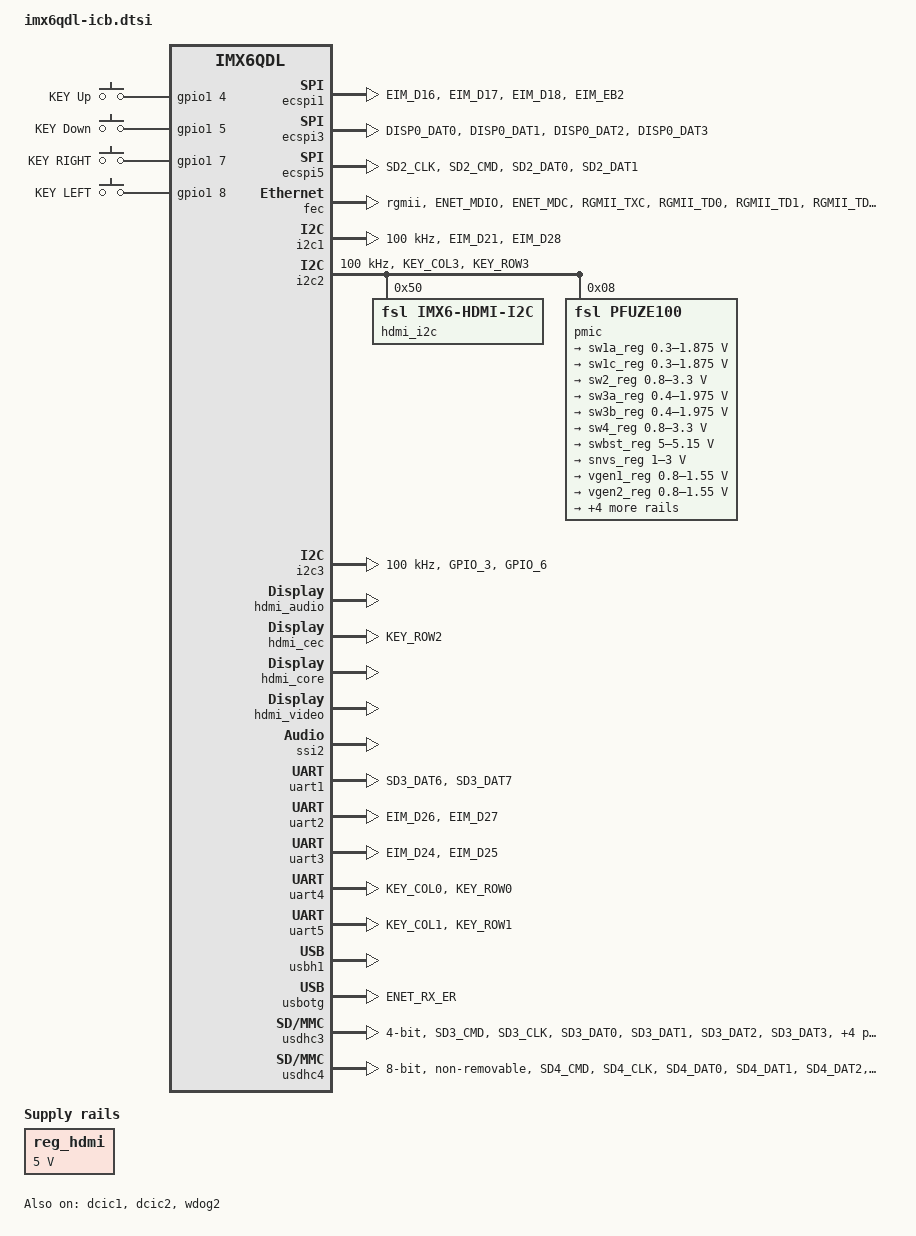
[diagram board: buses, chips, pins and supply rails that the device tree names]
/*
 * Copyright 2012-2016 Freescale Semiconductor, Inc.
 * Copyright 2011 Linaro Ltd.
 * Copyright 2019 Naimtechnology
 *
 * The code contained herein is licensed under the GNU General Public
 * License. You may obtain a copy of the GNU General Public License
 * Version 2 or later at the following locations:
 *
 * http://www.opensource.org/licenses/gpl-license.html
 * http://www.gnu.org/copyleft/gpl.html
 */

#include <dt-bindings/gpio/gpio.h>
#include <dt-bindings/input/input.h>

/ {
	aliases {
		mxcfb0 = &mxcfb1;
		mxcfb1 = &mxcfb2;
		mxcfb2 = &mxcfb3;
		mxcfb3 = &mxcfb4;
	};


	chosen {
		stdout-path = &uart1;
	};


	ir_gpios{
		compatible = "gpio-ir";
		pinctrl-names = "default";
		pinctrl-0 = <&pinctrl_ir_gpios>;
		

		user-ir-0 {
			label = "IR_SHUTTER_RESET";
			gpios = <&gpio4 16 GPIO_ACTIVE_HIGH>;
//			linux,code = <IR_SHUTTER_RESET>;
		};
		user-ir-1 {
			label = "IR_M_PULSE1";
			gpios = <&gpio4 18 GPIO_ACTIVE_HIGH>;
//			linux,code = <_IR_M_PULSE1>;
		};
		user-ir-2 {
			label = "IR_M_PULSE2";
			gpios = <&gpio4 19 GPIO_ACTIVE_HIGH>;
//			linux,code = <IR_M_PULSE2>;
		};
		user-ir-3 {
			label = "IR_M_DIRECTION1";
			gpios = <&gpio4 20 GPIO_ACTIVE_HIGH>;
//			linux,code = <IR_M_DIRECTION1>;
		};
		user-ir-4 {
			label = "IR_M_DIRECTION2";
			gpios = <&gpio4 17 GPIO_ACTIVE_HIGH>;
//			linux,code = <IR_M_DIRECTION2>;
		};
		user-ir-5 {
			label = "IR_GFID_LD";
			gpios = <&gpio4 26 GPIO_ACTIVE_HIGH>;
//			linux,code = <IR_GFID_LD>;
		};
		user-ir-6 {
			label = "IR_GFID_SDI";
			gpios = <&gpio4 27 GPIO_ACTIVE_HIGH>;
//			linux,code = <IR_GFID_SDI>;
		};
		user-ir-7 {
			label = "IR_GFID_SCK";
			gpios = <&gpio4 28 GPIO_ACTIVE_HIGH>;
//			linux,code = <IR_GFID_SCK>;
		};
		user-ir-8 {
			label = "IR_GSK_SCK";
			gpios = <&gpio4 29 GPIO_ACTIVE_HIGH>;
//			linux,code = <IR_GSK_SCK>;
		};
		user-ir-9 {
			label = "IR_GSK_LD";
			gpios = <&gpio4 30 GPIO_ACTIVE_HIGH>;
//			linux,code = <IR_GSK_LD>;
		};
		user-ir-10 {
			label = "IR_GSK_SDI";
			gpios = <&gpio4 31 GPIO_ACTIVE_HIGH>;
//			linux,code = <IR_GSK_SDI>;
		};
		user-ir-11 {
			label = "IR_DET_MC";
			gpios = <&gpio5 5 GPIO_ACTIVE_HIGH>;
//			linux,code = <IR_DET_MC>;
		};
		user-ir-12 {
			label = "IR_DET_INT";
			gpios = <&gpio5 6 GPIO_ACTIVE_HIGH>;
//			linux,code = <IR_DET_INT>;
		};
		user-ir-13 {
			label = "IR_DET_SERDAT";
			gpios = <&gpio5 7 GPIO_ACTIVE_HIGH>;
//			linux,code = <IR_DET_SERDAT>;
		};
		user-ir-14 {
			label = "IR_DET_RESET";
			gpios = <&gpio5 8 GPIO_ACTIVE_HIGH>;
//			linux,code = <IR_DET_RESET>;
		};
		user-ir-15 {
			label = "IR_SM_1A";
			gpios = <&gpio5 9 GPIO_ACTIVE_HIGH>;
//			linux,code = <IR_SM_1A>;
		};
		user-ir-16 {
			label = "IR_SM_1B";
			gpios = <&gpio5 10 GPIO_ACTIVE_HIGH>;
//			linux,code = <IR_SM_1B>;
		};
		user-ir-17 {
			label = "IR_SM_2A";
			gpios = <&gpio5 11 GPIO_ACTIVE_HIGH>;
//			linux,code = <IR_SM_1A>;
		};
		user-ir-18 {
			label = "IR_SM_2B";
			gpios = <&gpio5 12 GPIO_ACTIVE_HIGH>;
//			linux,code = <IR_SM_2B>;
		};
		user-ir-19 {
			label = "IR_ND_FILTER_STAT";
			gpios = <&gpio5 13 GPIO_ACTIVE_LOW>;
//			linux,code = <IR_ND_FILTER_STAT>;
		};
		user-ir-20 {
			label = "IR_FOCUS_STAT";
			gpios = <&gpio5 14 GPIO_ACTIVE_HIGH>;
//			linux,code = <IR_FOCUS_STAT>;
		};
		user-ir-21 {
			label = "IR_CTRL1";
			gpios = <&gpio3 31 GPIO_ACTIVE_HIGH>;
//			linux,code = <IR_FOCUS_STAT>;
		};
	};

	lrf-gpios{
		compatible = "gpio-lrf";
		pinctrl-names = "default";
		pinctrl-0 = <&pinctrl_lrf_gpios>;

		user-lrf-0 {
			label = "LRF_nSTOP";
			gpios = <&gpio2 0 GPIO_ACTIVE_HIGH>;
			default-state = "off";
//			linux,code = <LRF_nSTOP>;
		};
		user-lrf-1 {
			label = "LRF_nSTART";
			gpios = <&gpio2 1 GPIO_ACTIVE_HIGH>;
//			linux,code = <LRF_nSTART>;
		};
		user-lrf-2 {
			label = "LRF_IMX6_SEL1";
			gpios = <&gpio2 3 GPIO_ACTIVE_HIGH>;
//			linux,code = <LRF_IMX6_SEL1>;
		};
		user-lrf-3 {
			label = "LRF_IMX6_SEL2";
			gpios = <&gpio2 4 GPIO_ACTIVE_HIGH>;
//			linux,code = <LRF_IMX6_SEL2>;
		};
		user-lrf-4 {
			label = "LRF_IMX6_FIRE";
			gpios = <&gpio2 5 GPIO_ACTIVE_HIGH>;
//			linux,code = <LRF_IMX6_FIRE>;
		};
	
	};


	ipb-gpios {
		compatible = "gpio-ipb";
		pinctrl-names = "default";
		pinctrl-0 = <&pinctrl_ipb_gpios>;

		user-ipb-0 {
			label = "IPB MAIN PWR nOFF";
			gpios = <&gpio6 11 GPIO_ACTIVE_HIGH>;
//			linux,code = <IPB_MAIN_PWR_nOFF>;
		};
		user-ipb-1 {
			label = "POWER_OFF_SENSE";
			gpios = <&gpio6 14 GPIO_ACTIVE_HIGH>;
//			linux,code = <POWER_OFF_SENSE>;
		};
		user-ipb-2 {
			label = "INSTATE_B1";
			gpios = <&gpio1 18 GPIO_ACTIVE_HIGH>;
//			linux,code = <INSTATE_B1>;
		};
		user-ipb-3 {
			label = "INSTATE_B2";
			gpios = <&gpio1 16 GPIO_ACTIVE_HIGH>;
//			linux,code = <INSTATE_B2>;
		};
		user-ipb-4 {
			label = "6.0V_ON_OFF";
			gpios = <&gpio1 17 GPIO_ACTIVE_HIGH>;
//			linux,code = <6.0V_ON_OFF>;
		};
		user-ipb-5 {
			label = "INSTATE_ID";
			gpios = <&gpio1 19 GPIO_ACTIVE_HIGH>;
//			linux,code = <6.INSTATE_ID>;
		};
		user-ipb-6 {
			label = "INSTATE_EX";
			gpios = <&gpio1 21 GPIO_ACTIVE_HIGH>;
//			linux,code = <6.INSTATE_EX>;
		};

	};


	gpio-keys {
		compatible = "gpio-keys";
		pinctrl-names = "default";
		pinctrl-0 = <&pinctrl_gpio_keys>;

		key-up {
			label = "KEY Up";
			gpios = <&gpio1 4 GPIO_ACTIVE_HIGH>;
			gpio-key,wakeup;
//			linux,code = <KEY_UP>;
		};

		key-down {
			label = "KEY Down";
			gpios = <&gpio1 5 GPIO_ACTIVE_HIGH>;
			gpio-key,wakeup;
//			linux,code = <KEY_DOWN>;
		};

		key-right {
			label = "KEY RIGHT";
			gpios = <&gpio1 7 GPIO_ACTIVE_HIGH>;
			gpio-key,wakeup;
//			linux,code = <KEY_RIGHT>;
		};

		key-left {
			label = "KEY LEFT";
			gpios = <&gpio1 8 GPIO_ACTIVE_HIGH>;
			gpio-key,wakeup;
//			linux,code = <KEY_LEFT>;
		};
	};

	prox-gpios {
		compatible = "gpio-prox";
		pinctrl-names = "default";
		pinctrl-0 = <&pinctrl_gpio_prox>;

		user-prox-0 {
			label = "PROX INT";
			gpios = <&gpio1 18 GPIO_ACTIVE_HIGH>;
			gpio-key,wakeup;
//			linux,code = <PROX_INT>;
		};

	};

	EXT-gpios {
		compatible = "gpio-ext";
		pinctrl-names = "default";
		pinctrl-0 = <&pinctrl_gpio_ext>;

		user-ext-0 {
			label = "SW FUNCTION";
			gpios = <&gpio5 15 GPIO_ACTIVE_HIGH>;
//			linux,code = <PROX_INT>;
		};

		user-ext-1 {
			label = "SW LASER FIRE";
			gpios = <&gpio5 16 GPIO_ACTIVE_HIGH>;
//			linux,code = <SW_LASER_FIRE>;
		};

		user-ext-2 {
			label = "SW MENU";
			gpios = <&gpio5 17 GPIO_ACTIVE_HIGH>;
//			linux,code = <SW_MENU>;
		};

		user-ext-3 {
			label = "EXP PWR OCn";
			gpios = <&gpio6 15 GPIO_ACTIVE_HIGH>;
//			linux,code = <EXP_PWR_OCn>;
		};
	};

	etc-gpios {
		compatible = "gpio-etc";
		pinctrl-names = "default";
		pinctrl-0 = <&pinctrl_gpio_etc>;

		user-etc-1 {
			label = "GPS PWR ON";
			gpios = <&gpio1 4 GPIO_ACTIVE_HIGH>;
//			linux,code = <GPS_PWR_ON>;
		};

		user-etc-2 {
			label = "LRF PWR ON";
			gpios = <&gpio1 5 GPIO_ACTIVE_HIGH>;
//			linux,code = <LRF_PWR_ON>;
		};

	};

/*	gpio-keys {
		compatible = "gpio-keys";
		pinctrl-names = "default";
		pinctrl-0 = <&pinctrl_gpio_keys>;

		power {
			label = "Power Button";
			gpios = <&gpio3 29 GPIO_ACTIVE_LOW>;
			gpio-key,wakeup;
			linux,code = <KEY_POWER>;
		};

		volume-up {
			label = "Volume Up";
			gpios = <&gpio4 14 GPIO_ACTIVE_LOW>;
			gpio-key,wakeup;
			linux,code = <KEY_VOLUMEUP>;
		};

		volume-down {
			label = "Volume Down";
			gpios = <&gpio4 15 GPIO_ACTIVE_LOW>;
			gpio-key,wakeup;
			linux,code = <KEY_VOLUMEDOWN>;
		};
	};
*/

	regulators {
		compatible = "simple-bus";
		#address-cells = <1>;
		#size-cells = <0>;

		reg_hdmi: regulator@5 {
			compatible = "regulator-fixed";
			reg = <5>;
			regulator-name = "hdmi-5v-supply";
			regulator-min-microvolt = <5000000>;
			regulator-max-microvolt = <5000000>;
			enable-active-high;
			hdmi-5v-supply = <&swbst_reg>;
		};

	};

	sound-hdmi {
		compatible = "fsl,imx6q-audio-hdmi",
			     "fsl,imx-audio-hdmi";
		model = "imx-audio-hdmi";
		hdmi-controller = <&hdmi_audio>;
	};

	mxcfb1: fb@0 { 
 		compatible = "fsl,mxc_sdc_fb"; 
 		disp_dev = "hdmi"; 
 		interface_pix_fmt = "RGB24"; 
 		mode_str ="1920x1080M@60"; 
 		default_bpp = <24>; 
 		int_clk = <0>; 
 		late_init = <0>; 
 		status = "okay"; 
	}; 
 
 
 	mxcfb2: fb@1 { 
 		compatible = "fsl,mxc_sdc_fb"; 
 		disp_dev = "ldb"; 
 		interface_pix_fmt = "RGB666"; 
 		default_bpp = <16>; 
 		int_clk = <0>; 
 		late_init = <0>; 
 		status = "disabled"; 
 	}; 
 
 
 	mxcfb3: fb@2 { 
 		compatible = "fsl,mxc_sdc_fb"; 
 		disp_dev = "lcd"; 
 		interface_pix_fmt = "RGB565"; 
 		mode_str ="CLAA-WVGA"; 
 		default_bpp = <16>; 
 		int_clk = <0>; 
 		late_init = <0>; 
 		status = "disabled"; 
 	}; 
 
 
 	mxcfb4: fb@3 { 
 		compatible = "fsl,mxc_sdc_fb"; 
 		disp_dev = "ldb"; 
 		interface_pix_fmt = "RGB666"; 
 		default_bpp = <16>; 
 		int_clk = <0>; 
 		late_init = <0>; 
 		status = "disabled"; 
 	}; 


/*	lcd@0 {
		compatible = "fsl,lcd";
		ipu_id = <0>;
		disp_id = <0>;
		default_ifmt = "RGB565";
		pinctrl-names = "default";
		pinctrl-0 = <&pinctrl_ipu1>;
		status = "disabled";
	};

	backlight {
		compatible = "pwm-backlight";
		pwms = <&pwm1 0 5000000>;
		brightness-levels = <0 4 8 16 32 64 128 255>;
		default-brightness-level = <7>;
		status = "disabled";
	};*/

	v4l2_cap_0 {
		compatible = "fsl,imx6q-v4l2-capture";
		ipu_id = <0>;
		csi_id = <0>;
		mclk_source = <0>;
		status = "okay";
	};

	v4l2_cap_1 {
		compatible = "fsl,imx6q-v4l2-capture";
		ipu_id = <0>;
		csi_id = <1>;
		mclk_source = <0>;
		status = "okay";
	};

	v4l2_out {
		compatible = "fsl,mxc_v4l2_output";
		status = "okay";
	};

};

/*
&ldb {
	status = "okay";

	lvds-channel@0 {
		fsl,data-mapping = "spwg";
		fsl,data-width = <18>;
		status = "okay";

		display-timings {
			native-mode = <&timing0>;
			timing0: hsd100pxn1 {
				clock-frequency = <65000000>;
				hactive = <1024>;
				vactive = <768>;
				hback-porch = <220>;
				hfront-porch = <40>;
				vback-porch = <21>;
				vfront-porch = <7>;
				hsync-len = <60>;
				vsync-len = <10>;
			};
		};
	};
};*/


&audmux {
//	pinctrl-names = "default";
//	pinctrl-0 = <&pinctrl_audmux>;
	status = "disabled";
};

&cpu0 {
	arm-supply = <&sw1a_reg>;
	soc-supply = <&sw1c_reg>;
};

&clks {
	fsl,ldb-di0-parent = <&clks IMX6QDL_CLK_PLL2_PFD0_352M>;
	fsl,ldb-di1-parent = <&clks IMX6QDL_CLK_PLL2_PFD0_352M>;
};

/*
&ecspi1 {
	fsl,spi-num-chipselects = <1>;
	cs-gpios = <&gpio4 9 0>;
	pinctrl-names = "default";
	pinctrl-0 = <&pinctrl_ecspi1>;
	status = "okay";

	flash: m25p80@0 {
		#address-cells = <1>;
		#size-cells = <1>;
		compatible = "st,m25p32";
		spi-max-frequency = <20000000>;
		reg = <0>;
	};
};
*/

&ecspi1 {
	fsl,spi-num-chipselects = <1>;
	cs-gpios = <&gpio2 30 0>;
	pinctrl-names = "default";
	pinctrl-0 = <&pinctrl_ecspi1>;
	status = "okay";

};

&ecspi3 {
	fsl,spi-num-chipselects = <1>;
	cs-gpios = <&gpio4 24 0>;
	pinctrl-names = "default";
	pinctrl-0 = <&pinctrl_ecspi3>;
	status = "okay";

};

&ecspi5 {
	fsl,spi-num-chipselects = <1>;
	cs-gpios = <&gpio1 14 0>;
	pinctrl-names = "default";
	pinctrl-0 = <&pinctrl_ecspi5>;
	status = "okay";

};

&fec {
	pinctrl-names = "default";
	pinctrl-0 = <&pinctrl_enet>;
	phy-mode = "rgmii";
	phy-reset-gpios = <&gpio1 25 0>;
	fsl,magic-packet;
	status = "okay";
};

&i2c1 {
	clock-frequency = <100000>;
	pinctrl-names = "default";
	pinctrl-0 = <&pinctrl_i2c1>;
	status = "okay";
};

&i2c2 {
	clock-frequency = <100000>;
	pinctrl-names = "default";
	pinctrl-0 = <&pinctrl_i2c2>;
	status = "okay";


	hdmi_i2c: edid@50 {
		compatible = "fsl,imx6-hdmi-i2c";
		reg = <0x50>;
	};

	pmic: pfuze100@08 {
		compatible = "fsl,pfuze100";
		reg = <0x08>;

		regulators {
			sw1a_reg: sw1ab {
				regulator-min-microvolt = <300000>;
				regulator-max-microvolt = <1875000>;
				regulator-boot-on;
				regulator-always-on;
				regulator-ramp-delay = <6250>;
			};

			sw1c_reg: sw1c {
				regulator-min-microvolt = <300000>;
				regulator-max-microvolt = <1875000>;
				regulator-boot-on;
				regulator-always-on;
				regulator-ramp-delay = <6250>;
			};

			sw2_reg: sw2 {
				regulator-min-microvolt = <800000>;
				regulator-max-microvolt = <3300000>;
				regulator-boot-on;
				regulator-always-on;
				regulator-ramp-delay = <6250>;
			};

			sw3a_reg: sw3a {
				regulator-min-microvolt = <400000>;
				regulator-max-microvolt = <1975000>;
				regulator-boot-on;
				regulator-always-on;
			};

			sw3b_reg: sw3b {
				regulator-min-microvolt = <400000>;
				regulator-max-microvolt = <1975000>;
				regulator-boot-on;
				regulator-always-on;
			};

			sw4_reg: sw4 {
				regulator-min-microvolt = <800000>;
				regulator-max-microvolt = <3300000>;
			};

			swbst_reg: swbst {
				regulator-min-microvolt = <5000000>;
				regulator-max-microvolt = <5150000>;
			};

			snvs_reg: vsnvs {
				regulator-min-microvolt = <1000000>;
				regulator-max-microvolt = <3000000>;
				regulator-boot-on;
				regulator-always-on;
			};

			vref_reg: vrefddr {
				regulator-boot-on;
				regulator-always-on;
			};

			vgen1_reg: vgen1 {
				regulator-min-microvolt = <800000>;
				regulator-max-microvolt = <1550000>;
			};

			vgen2_reg: vgen2 {
				regulator-min-microvolt = <800000>;
				regulator-max-microvolt = <1550000>;
			};

			vgen3_reg: vgen3 {
				regulator-min-microvolt = <1800000>;
				regulator-max-microvolt = <3300000>;
			};

			vgen4_reg: vgen4 {
				regulator-min-microvolt = <1800000>;
				regulator-max-microvolt = <3300000>;
				regulator-always-on;
			};

			vgen5_reg: vgen5 {
				regulator-min-microvolt = <1800000>;
				regulator-max-microvolt = <3300000>;
				regulator-always-on;
			};

			vgen6_reg: vgen6 {
				regulator-min-microvolt = <1800000>;
				regulator-max-microvolt = <3300000>;
				regulator-always-on;
			};
		};
	};
};

&i2c3 {
	clock-frequency = <100000>;
	pinctrl-names = "default";
	pinctrl-0 = <&pinctrl_i2c3>;
	status = "okay";

};

&gpc {
	fsl,ldo-bypass = <1>;
};

&dcic1 {
	dcic_id = <0>;
	dcic_mux = "dcic-hdmi";
	status = "okay";
};

&dcic2 {
	dcic_id = <1>;
	dcic_mux = "dcic-lvds1";
	status = "okay";
};

&hdmi_audio {
	status = "okay";
};

&hdmi_cec {
	pinctrl-names = "default";
	pinctrl-0 = <&pinctrl_hdmi_cec>;
	status = "okay";
};

&hdmi_core {
	ipu_id = <0>;
	disp_id = <0>;
	status = "okay";
};

&hdmi_video {
	fsl,phy_reg_vlev = <0x0294>;
	fsl,phy_reg_cksymtx = <0x800d>;
	HDMI-supply = <&reg_hdmi>;
	status = "okay";
};

&mipi_csi {
	status = "disabled";
};


&pcie {
	status = "disabled";
};

&pwm1 {
	status = "disabled";
};

&ssi2 {
	status = "okay";
};

&uart1 {
	pinctrl-names = "default";
	pinctrl-0 = <&pinctrl_uart1>;
	status = "okay";
};

&uart2 {
	pinctrl-names = "default";
	pinctrl-0 = <&pinctrl_uart2>;
	status = "okay";
};

&uart3 {
	pinctrl-names = "default";
	pinctrl-0 = <&pinctrl_uart3>;
	status = "okay";
};

&uart4 {
	pinctrl-names = "default";
	pinctrl-0 = <&pinctrl_uart4>;
	status = "okay";
};

&uart5 {
	pinctrl-names = "default";
	pinctrl-0 = <&pinctrl_uart5>;
	status = "okay";
};

&usbh1 {
	status = "okay";
};

&usbotg {
	pinctrl-names = "default";
	pinctrl-0 = <&pinctrl_usbotg>;
	disable-over-current;
	srp-disable;
	hnp-disable;
	adp-disable;
	status = "okay";
};

&usdhc3 {
	pinctrl-names = "default";
	pinctrl-0 = <&pinctrl_usdhc3>;
	bus-width = <4>;
	cd-gpios = <&gpio1 20 GPIO_ACTIVE_LOW>;
	wp-gpios = <&gpio6 9 GPIO_ACTIVE_HIGH>;
	no-1-8-v;
	keep-power-in-suspend;
	enable-sdio-wakeup;
	status = "okay";
};


&usdhc4 {
	pinctrl-names = "default";
	pinctrl-0 = <&pinctrl_usdhc4>;
	bus-width = <8>;
	non-removable;
	no-1-8-v;
	keep-power-in-suspend;
	status = "okay";
};

&snvs_poweroff {
	status = "okay";
};

&usbphy1 {
	tx-d-cal = <0x5>;
};

&usbphy2 {
	tx-d-cal = <0x5>;
};

&wdog1 {
	status = "disabled";
};

&wdog2 {
	pinctrl-names = "default";
	pinctrl-0 = <&pinctrl_wdog>;
	fsl,wdog_b;
	status = "okay";
};



&iomuxc {
	pinctrl-names = "default";
//	pinctrl-0 = <&pinctrl_hog>;

	imx6qdl-icb {
/*		pinctrl_hog: hoggrp {
			fsl,pins = <
				MX6QDL_PAD_NANDF_D0__GPIO2_IO00 0x1b0b0
				MX6QDL_PAD_NANDF_D1__GPIO2_IO01 0x1b0b0
				MX6QDL_PAD_NANDF_D2__GPIO2_IO02 0x1b0b0
				MX6QDL_PAD_NANDF_D3__GPIO2_IO03 0x1b0b0
				MX6QDL_PAD_NANDF_D4__GPIO2_IO04 0x1b0b0
				MX6QDL_PAD_NANDF_D5__GPIO2_IO05 0x1b0b0
				MX6QDL_PAD_NANDF_D6__GPIO2_IO06 0x1b0b0
				MX6QDL_PAD_NANDF_D7__GPIO2_IO07 0x1b0b0

				MX6QDL_PAD_NANDF_CS0__GPIO6_IO11 0x1b0b0
				MX6QDL_PAD_NANDF_CS1__GPIO6_IO14 0x1b0b0
				MX6QDL_PAD_NANDF_CS2__GPIO6_IO15 0x1b0b0
				MX6QDL_PAD_NANDF_CS3__GPIO6_IO16 0x1b0b0
				MX6QDL_PAD_NANDF_ALE__GPIO6_IO08 0x1b0b0
				MX6QDL_PAD_NANDF_CLE__GPIO6_IO07 0x1b0b0
				MX6QDL_PAD_NANDF_WP_B__GPIO6_IO09 0x1b0b0
				MX6QDL_PAD_NANDF_RB0__GPIO6_IO10 0x1b0b0

				MX6QDL_PAD_GPIO_4__GPIO1_IO04 0x130b0
				MX6QDL_PAD_GPIO_5__GPIO1_IO05 0x130b0
				MX6QDL_PAD_GPIO_7__GPIO1_IO07 0x130b0
				MX6QDL_PAD_GPIO_8__GPIO1_IO08 0x130b0
				MX6QDL_PAD_GPIO_9__GPIO1_IO09 0x130b0
				MX6QDL_PAD_GPIO_8__GPIO1_IO08 0x130b0
				MX6QDL_PAD_GPIO_16__GPIO7_IO11 0x130b0
		                MX6QDL_PAD_GPIO_17__GPIO7_IO12 0x130b0
				MX6QDL_PAD_GPIO_19__GPIO4_IO05 0x130b0
				MX6QDL_PAD_SD2_CMD__GPIO1_IO11 0x130b0
                		MX6QDL_PAD_SD2_DAT0__GPIO1_IO15 0x130b0
                		MX6QDL_PAD_SD2_DAT1__GPIO1_IO14 0x130b0
                		MX6QDL_PAD_SD2_DAT2__GPIO1_IO13 0x130b0
                		MX6QDL_PAD_SD2_DAT3__GPIO1_IO12 0x130b0
				MX6QDL_PAD_EIM_D19__GPIO3_IO19 0x130b0
                		MX6QDL_PAD_EIM_D20__GPIO3_IO20 0x130b0
                		MX6QDL_PAD_EIM_D22__GPIO3_IO22 0x130b0

				MX6QDL_PAD_GPIO_0__CCM_CLKO1    0x130b0
				MX6QDL_PAD_ENET_CRS_DV__GPIO1_IO25 0x80000000
				MX6QDL_PAD_SD1_CMD__GPIO1_IO18 0x80000000
				MX6QDL_PAD_EIM_D16__GPIO3_IO16 0x80000000
				MX6QDL_PAD_EIM_DA9__GPIO3_IO09 0x80000000
			>;
		};*/


		pinctrl_ecspi1: ecspi1grp {
			fsl,pins = <

				MX6QDL_PAD_EIM_D16__ECSPI1_SCLK         0x1B0B0
				MX6QDL_PAD_EIM_D17__ECSPI1_MISO         0x1B0B0
				MX6QDL_PAD_EIM_D18__ECSPI1_MOSI         0x1B0B0
				MX6QDL_PAD_EIM_EB2__GPIO2_IO30		0x1b0b0
//				MX6QDL_PAD_EIM_EB2__GPIO2_IO30		0x80000000 /* CS0 */
			>;
		};

		pinctrl_ecspi3: ecspi3grp {
			fsl,pins = <

				MX6QDL_PAD_DISP0_DAT0__ECSPI3_SCLK         0x0001B0B0
				MX6QDL_PAD_DISP0_DAT1__ECSPI3_MOSI         0x0001B0B0
				MX6QDL_PAD_DISP0_DAT2__ECSPI3_MISO         0x0001B0B0
				MX6QDL_PAD_DISP0_DAT3__GPIO4_IO24          0x0001B0B0
			>;
		};

		pinctrl_ecspi5: ecspi5grp {
			fsl,pins = <

				MX6QDL_PAD_SD2_CLK__ECSPI5_SCLK            0x0001B0B0
				MX6QDL_PAD_SD2_CMD__ECSPI5_MOSI            0x0001B0B0
				MX6QDL_PAD_SD2_DAT0__ECSPI5_MISO           0x0001B0B0
				MX6QDL_PAD_SD2_DAT1__GPIO1_IO14            0x0001B0B0
			>;
		};


		pinctrl_enet: enetgrp {
			fsl,pins = <
				MX6QDL_PAD_ENET_MDIO__ENET_MDIO		0x1b0b0
				MX6QDL_PAD_ENET_MDC__ENET_MDC		0x1b0b0
				MX6QDL_PAD_RGMII_TXC__RGMII_TXC		0x1b0b0
				MX6QDL_PAD_RGMII_TD0__RGMII_TD0		0x1b0b0
				MX6QDL_PAD_RGMII_TD1__RGMII_TD1		0x1b0b0
				MX6QDL_PAD_RGMII_TD2__RGMII_TD2		0x1b0b0
				MX6QDL_PAD_RGMII_TD3__RGMII_TD3		0x1b0b0
				MX6QDL_PAD_RGMII_TX_CTL__RGMII_TX_CTL	0x1b0b0
				MX6QDL_PAD_ENET_REF_CLK__ENET_TX_CLK	0x1b0b0
				MX6QDL_PAD_RGMII_RXC__RGMII_RXC		0x1b0b0
				MX6QDL_PAD_RGMII_RD0__RGMII_RD0		0x1b0b0
				MX6QDL_PAD_RGMII_RD1__RGMII_RD1		0x1b0b0
				MX6QDL_PAD_RGMII_RD2__RGMII_RD2		0x1b0b0
				MX6QDL_PAD_RGMII_RD3__RGMII_RD3		0x1b0b0
				MX6QDL_PAD_RGMII_RX_CTL__RGMII_RX_CTL	0x1b0b0
				MX6QDL_PAD_GPIO_16__ENET_REF_CLK	0x4001b0a8
			>;
		};

		pinctrl_enet_irq: enetirqgrp {
			fsl,pins = <
				MX6QDL_PAD_GPIO_6__ENET_IRQ		0x000b1
			>;
		};

/*		pinctrl_gpio_keys: gpio_keysgrp {
			fsl,pins = <
				MX6QDL_PAD_EIM_D29__GPIO3_IO29 		0x1b0b0
				MX6QDL_PAD_KEY_COL4__GPIO4_IO14  	0x1b0b0
				MX6QDL_PAD_KEY_ROW4__GPIO4_IO15  	0x1b0b0
			>;
		};
*/
		pinctrl_hdmi_cec: hdmicecgrp {
			fsl,pins = <
				MX6QDL_PAD_KEY_ROW2__HDMI_TX_CEC_LINE 0x108b0
			>;
		};

		pinctrl_hdmi_hdcp: hdmihdcpgrp {
			fsl,pins = <
				MX6QDL_PAD_KEY_COL3__HDMI_TX_DDC_SCL 0x4001b8b1
				MX6QDL_PAD_KEY_ROW3__HDMI_TX_DDC_SDA 0x4001b8b1
			>;
		};

		pinctrl_i2c1: i2c1grp {
			fsl,pins = <
				MX6QDL_PAD_EIM_D21__I2C1_SCL		0x4001b8b1
				MX6QDL_PAD_EIM_D28__I2C1_SDA		0x4001b8b1
			>;
		};

		pinctrl_i2c2: i2c2grp {
			fsl,pins = <
				MX6QDL_PAD_KEY_COL3__I2C2_SCL		0x4001b8b1
				MX6QDL_PAD_KEY_ROW3__I2C2_SDA		0x4001b8b1
			>;
		};

		pinctrl_i2c3: i2c3grp {
			fsl,pins = <
				MX6QDL_PAD_GPIO_3__I2C3_SCL		0x4001b8b1
				MX6QDL_PAD_GPIO_6__I2C3_SDA		0x4001b8b1
			>;
		};


		pinctrl_ir_gpios: pinmux_ir_gpio_pins {
			fsl,pins = <
				MX6QDL_PAD_DI0_DISP_CLK__GPIO4_IO16        0x000130B0
				MX6QDL_PAD_DI0_PIN2__GPIO4_IO18            0x000130B0
				MX6QDL_PAD_DI0_PIN3__GPIO4_IO19            0x000130B0
				MX6QDL_PAD_DI0_PIN4__GPIO4_IO20            0x000130B0
				MX6QDL_PAD_DI0_PIN15__GPIO4_IO17           0x000130B0
		 		MX6QDL_PAD_DISP0_DAT5__GPIO4_IO26          0x000130B0
				MX6QDL_PAD_DISP0_DAT6__GPIO4_IO27          0x000130B0
				MX6QDL_PAD_DISP0_DAT7__GPIO4_IO28          0x000130B0
				MX6QDL_PAD_DISP0_DAT8__GPIO4_IO29          0x000130B0
				MX6QDL_PAD_DISP0_DAT9__GPIO4_IO30          0x000130B0
				MX6QDL_PAD_DISP0_DAT10__GPIO4_IO31         0x000130B0
				MX6QDL_PAD_DISP0_DAT11__GPIO5_IO05         0x000130B0
				MX6QDL_PAD_DISP0_DAT12__GPIO5_IO06         0x000130B0
				MX6QDL_PAD_DISP0_DAT13__GPIO5_IO07         0x000130B0
				MX6QDL_PAD_DISP0_DAT14__GPIO5_IO08         0x000130B0
				MX6QDL_PAD_DISP0_DAT15__GPIO5_IO09         0x000130B0
				MX6QDL_PAD_DISP0_DAT16__GPIO5_IO10         0x000130B0
				MX6QDL_PAD_DISP0_DAT17__GPIO5_IO11         0x000130B0
				MX6QDL_PAD_DISP0_DAT18__GPIO5_IO12         0x000130B0
				MX6QDL_PAD_DISP0_DAT19__GPIO5_IO13         0x000130B0
				MX6QDL_PAD_DISP0_DAT20__GPIO5_IO14         0x000130B0
				MX6QDL_PAD_EIM_D31__GPIO3_IO31             0x000130B0
			>;
		};

		pinctrl_lrf_gpios: pinmux_lrf_gpio_pins {
			fsl,pins = <
				MX6QDL_PAD_NANDF_CS2__GPIO6_IO15           0x000130B0
				MX6QDL_PAD_NANDF_D0__GPIO2_IO00            0x000130B0
				MX6QDL_PAD_NANDF_D1__GPIO2_IO01            0x000130B0
				MX6QDL_PAD_NANDF_D3__GPIO2_IO03            0x000130B0
				MX6QDL_PAD_NANDF_D4__GPIO2_IO04            0x000130B0
				MX6QDL_PAD_NANDF_D5__GPIO2_IO05            0x000130B0
			>;
		};

		pinctrl_ipb_gpios: pinmux_ipb_gpio_pins {
			fsl,pins = <
				MX6QDL_PAD_NANDF_CS0__GPIO6_IO11           0x000130B0
				MX6QDL_PAD_NANDF_CS1__GPIO6_IO14           0x000130B0
				MX6QDL_PAD_SD1_CMD__GPIO1_IO18             0x000130B0
				MX6QDL_PAD_SD1_DAT0__GPIO1_IO16            0x000130B0
				MX6QDL_PAD_SD1_DAT1__GPIO1_IO17            0x000130B0
				MX6QDL_PAD_SD1_DAT2__GPIO1_IO19            0x000130B0
		                MX6QDL_PAD_SD1_DAT3__GPIO1_IO21            0x000130B0
			>;
		};

		pinctrl_gpio_keys: pinmux_keys_gpio_pins {
			fsl,pins = <
				MX6QDL_PAD_GPIO_4__GPIO1_IO04              0x000130B0
               			MX6QDL_PAD_GPIO_5__GPIO1_IO05              0x000130B0
				MX6QDL_PAD_GPIO_7__GPIO1_IO07              0x000130B0
                		MX6QDL_PAD_GPIO_8__GPIO1_IO08              0x000130B0
			>;
		};

		pinctrl_gpio_prox: pinmux_prox_gpio_pins {
			fsl,pins = <
				MX6QDL_PAD_GPIO_9__GPIO1_IO09              0x000130B0
			>;
		};

		pinctrl_gpio_ext: pinmux_ext_gpio_pins {
			fsl,pins = <
				MX6QDL_PAD_DISP0_DAT21__GPIO5_IO15         0x000130B0
				MX6QDL_PAD_DISP0_DAT22__GPIO5_IO16         0x000130B0
				MX6QDL_PAD_DISP0_DAT23__GPIO5_IO17         0x000130B0
				MX6QDL_PAD_NANDF_CS2__GPIO6_IO15           0x000130B0
			>;
		};

		pinctrl_gpio_etc: pinmux_etc_gpio_pins {
			fsl,pins = <
				MX6QDL_PAD_NANDF_ALE__GPIO6_IO08           0x000130B0
                		MX6QDL_PAD_NANDF_CLE__GPIO6_IO07           0x000130B0
			>;
		};

/*		pinctrl_ipu1: ipu1grp {
			fsl,pins = <
				MX6QDL_PAD_DI0_DISP_CLK__IPU1_DI0_DISP_CLK 0x10
				MX6QDL_PAD_DI0_PIN15__IPU1_DI0_PIN15       0x10
				MX6QDL_PAD_DI0_PIN2__IPU1_DI0_PIN02        0x10
				MX6QDL_PAD_DI0_PIN3__IPU1_DI0_PIN03        0x10
				MX6QDL_PAD_DI0_PIN4__IPU1_DI0_PIN04        0x80000000
				MX6QDL_PAD_DISP0_DAT0__IPU1_DISP0_DATA00   0x10
				MX6QDL_PAD_DISP0_DAT1__IPU1_DISP0_DATA01   0x10
				MX6QDL_PAD_DISP0_DAT2__IPU1_DISP0_DATA02   0x10
				MX6QDL_PAD_DISP0_DAT3__IPU1_DISP0_DATA03   0x10
				MX6QDL_PAD_DISP0_DAT4__IPU1_DISP0_DATA04   0x10
				MX6QDL_PAD_DISP0_DAT5__IPU1_DISP0_DATA05   0x10
				MX6QDL_PAD_DISP0_DAT6__IPU1_DISP0_DATA06   0x10
				MX6QDL_PAD_DISP0_DAT7__IPU1_DISP0_DATA07   0x10
				MX6QDL_PAD_DISP0_DAT8__IPU1_DISP0_DATA08   0x10
				MX6QDL_PAD_DISP0_DAT9__IPU1_DISP0_DATA09   0x10
				MX6QDL_PAD_DISP0_DAT10__IPU1_DISP0_DATA10  0x10
				MX6QDL_PAD_DISP0_DAT11__IPU1_DISP0_DATA11  0x10
				MX6QDL_PAD_DISP0_DAT12__IPU1_DISP0_DATA12  0x10
				MX6QDL_PAD_DISP0_DAT13__IPU1_DISP0_DATA13  0x10
				MX6QDL_PAD_DISP0_DAT14__IPU1_DISP0_DATA14  0x10
				MX6QDL_PAD_DISP0_DAT15__IPU1_DISP0_DATA15  0x10
				MX6QDL_PAD_DISP0_DAT16__IPU1_DISP0_DATA16  0x10
				MX6QDL_PAD_DISP0_DAT17__IPU1_DISP0_DATA17  0x10
				MX6QDL_PAD_DISP0_DAT18__IPU1_DISP0_DATA18  0x10
				MX6QDL_PAD_DISP0_DAT19__IPU1_DISP0_DATA19  0x10
				MX6QDL_PAD_DISP0_DAT20__IPU1_DISP0_DATA20  0x10
				MX6QDL_PAD_DISP0_DAT21__IPU1_DISP0_DATA21  0x10
				MX6QDL_PAD_DISP0_DAT22__IPU1_DISP0_DATA22  0x10
				MX6QDL_PAD_DISP0_DAT23__IPU1_DISP0_DATA23  0x10
			>;
		};
*/

		pinctrl_uart1: uart1grp {
			fsl,pins = <
				MX6QDL_PAD_SD3_DAT6__UART1_RX_DATA	0x1b0b1
				MX6QDL_PAD_SD3_DAT7__UART1_TX_DATA	0x1b0b1
			>;
		};

		pinctrl_uart2: uart2grp {
			fsl,pins = <
				MX6QDL_PAD_EIM_D26__UART2_TX_DATA	0x1b0b0
				MX6QDL_PAD_EIM_D27__UART2_RX_DATA	0x1b0b0
			>;
		};

		pinctrl_uart3: uart3grp {
			fsl,pins = <
				MX6QDL_PAD_EIM_D24__UART3_TX_DATA	0x1b0b0
				MX6QDL_PAD_EIM_D25__UART3_RX_DATA	0x1b0b0
			>;
		};

		pinctrl_uart4: uart4grp {
			fsl,pins = <
				MX6QDL_PAD_KEY_COL0__UART4_TX_DATA	0x1b0b0
				MX6QDL_PAD_KEY_ROW0__UART4_RX_DATA      0x1b0b0
			>;
		};

		pinctrl_uart5: uart5grp {
			fsl,pins = <
				MX6QDL_PAD_KEY_COL1__UART5_TX_DATA	0x1b0b0
				MX6QDL_PAD_KEY_ROW1__UART5_RX_DATA      0x1b0b0
			>;
		};

		pinctrl_usbotg: usbotggrp {
			fsl,pins = <
				MX6QDL_PAD_ENET_RX_ER__USB_OTG_ID	0x17059
			>;
		};

/*		pinctrl_usdhc2: usdhc2grp {
			fsl,pins = <
				MX6QDL_PAD_SD2_CMD__SD2_CMD		0x17059
				MX6QDL_PAD_SD2_CLK__SD2_CLK		0x10059
				MX6QDL_PAD_SD2_DAT0__SD2_DATA0		0x17059
				MX6QDL_PAD_SD2_DAT1__SD2_DATA1		0x17059
				MX6QDL_PAD_SD2_DAT2__SD2_DATA2		0x17059
				MX6QDL_PAD_SD2_DAT3__SD2_DATA3		0x17059
				MX6QDL_PAD_NANDF_D4__SD2_DATA4		0x17059
				MX6QDL_PAD_NANDF_D5__SD2_DATA5		0x17059
				MX6QDL_PAD_NANDF_D6__SD2_DATA6		0x17059
				MX6QDL_PAD_NANDF_D7__SD2_DATA7		0x17059
			>;
		};*/

		pinctrl_usdhc3: usdhc3grp {
			fsl,pins = <
				MX6QDL_PAD_SD3_CMD__SD3_CMD		0x17059
				MX6QDL_PAD_SD3_CLK__SD3_CLK		0x10059
				MX6QDL_PAD_SD3_DAT0__SD3_DATA0		0x17059
				MX6QDL_PAD_SD3_DAT1__SD3_DATA1		0x17059
				MX6QDL_PAD_SD3_DAT2__SD3_DATA2		0x17059
				MX6QDL_PAD_SD3_DAT3__SD3_DATA3		0x17059
				MX6QDL_PAD_SD1_CLK__GPIO1_IO20		0x80000000 /* CD */ 
 				MX6QDL_PAD_NANDF_WP_B__GPIO6_IO09	0x80000000 /* WP */ 
			>;
		};

		pinctrl_usdhc4: usdhc4grp {
			fsl,pins = <
				MX6QDL_PAD_SD4_CMD__SD4_CMD		0x17059
				MX6QDL_PAD_SD4_CLK__SD4_CLK		0x10059
				MX6QDL_PAD_SD4_DAT0__SD4_DATA0		0x17059
				MX6QDL_PAD_SD4_DAT1__SD4_DATA1		0x17059
				MX6QDL_PAD_SD4_DAT2__SD4_DATA2		0x17059
				MX6QDL_PAD_SD4_DAT3__SD4_DATA3		0x17059
				MX6QDL_PAD_SD4_DAT4__SD4_DATA4		0x17059
				MX6QDL_PAD_SD4_DAT5__SD4_DATA5		0x17059
				MX6QDL_PAD_SD4_DAT6__SD4_DATA6		0x17059
				MX6QDL_PAD_SD4_DAT7__SD4_DATA7		0x17059
			>;
		};

		pinctrl_wdog: wdoggrp {
			fsl,pins = <
				MX6QDL_PAD_GPIO_1__WDOG2_B 0x80000000
			>;
		};
	};

};
